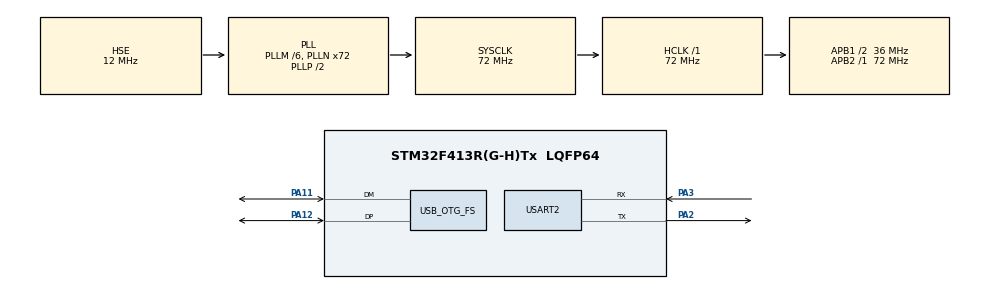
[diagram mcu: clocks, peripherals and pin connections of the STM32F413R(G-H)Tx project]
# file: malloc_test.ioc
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Mcu.Family=STM32F4
Mcu.Name=STM32F413R(G-H)Tx
Mcu.Package=LQFP64
NVIC.OTG_FS_IRQn=true\:0\:0\:false\:false\:true\:false\:true\:true
NVIC.PriorityGroup=NVIC_PRIORITYGROUP_4
NVIC.USART2_IRQn=true\:0\:0\:false\:false\:true\:true\:true\:true
PA11.Mode=Device_Only
PA11.Signal=USB_OTG_FS_DM
PA12.Mode=Device_Only
PA12.Signal=USB_OTG_FS_DP
PA13.Mode=Serial_Wire
PA13.Signal=SYS_JTMS-SWDIO
PA14.Mode=Serial_Wire
PA14.Signal=SYS_JTCK-SWCLK
PA2.Mode=Asynchronous
PA2.Signal=USART2_TX
PA3.Mode=Asynchronous
PA3.Signal=USART2_RX
PH0\ -\ OSC_IN.Mode=HSE-External-Oscillator
PH0\ -\ OSC_IN.Signal=RCC_OSC_IN
PH1\ -\ OSC_OUT.Mode=HSE-External-Oscillator
PH1\ -\ OSC_OUT.Signal=RCC_OSC_OUT
ProjectManager.HeapSize=0x200
ProjectManager.StackSize=0x400
ProjectManager.TargetToolchain=MDK-ARM V5.32
RCC.AHBFreq_Value=72000000
RCC.APB1CLKDivider=RCC_HCLK_DIV2
RCC.APB1Freq_Value=36000000
RCC.APB1TimFreq_Value=72000000
RCC.APB2Freq_Value=72000000
RCC.APB2TimFreq_Value=72000000
RCC.CortexFreq_Value=72000000
RCC.HCLKFreq_Value=72000000
RCC.HSE_VALUE=12000000
RCC.PLLM=6
RCC.PLLN=72
RCC.PLLQ=3
RCC.PLLSourceVirtual=RCC_PLLSOURCE_HSE
RCC.SYSCLKFreq_VALUE=72000000
RCC.SYSCLKSource=RCC_SYSCLKSOURCE_PLLCLK
RCC.USBFreq_Value=48000000
RCC.VCOOutputFreq_Value=144000000
USART2.VirtualMode=VM_ASYNC
USB_DEVICE.CLASS_NAME_FS=CDC
USB_DEVICE.VirtualMode=Cdc
USB_DEVICE.VirtualModeFS=Cdc_FS
USB_OTG_FS.VirtualMode=Device_Only
VP_USB_DEVICE_VS_USB_DEVICE_CDC_FS.Mode=CDC_FS
board=custom

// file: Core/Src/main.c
/* USER CODE BEGIN Header */
/**
  ******************************************************************************
  * @file           : main.c
  * @brief          : Main program body
  ******************************************************************************
  * @attention
  *
  * Copyright (c) 2023 STMicroelectronics.
  * All rights reserved.
  *
  * This software is licensed under terms that can be found in the LICENSE file
  * in the root directory of this software component.
  * If no LICENSE file comes with this software, it is provided AS-IS.
  *
  ******************************************************************************
  */
/* USER CODE END Header */
#include "main.h"
#include "usart.h"
#include "usb_device.h"
#include "gpio.h"

/* USER CODE BEGIN Includes */
#include <stdio.h>
#include <stdlib.h>
#include <stdarg.h>
#include "usbd_cdc_if.h"
/* USER CODE END Includes */

/* USER CODE BEGIN PTD */
#define BUFFER_SIZE 25600
#define USB_TX_BUFFER_SIZE 2048
/* USER CODE END PTD */

/* USER CODE BEGIN PD */
#define DATA_SIZE 25600 // Total data size
#define DATA_PAYLOAD DATA_SIZE
uint8_t test_data[DATA_SIZE] = {0};
/* USER CODE END PD */

/* USER CODE BEGIN PV */
void usb_printf(const char* format, ...);
/* USER CODE END PV */

void SystemClock_Config(void);

/* USER CODE BEGIN 0 */
//void test_dataCreat(uint8_t *test_data)
//{
//    if (!test_data)return;
//    for (int i = 0; i < DATA_SIZE; i++)
//    {
//        test_data[i] = i % 0x100;
//    }
//}
/* USER CODE END 0 */

int main(void)
{

  /* MCU Configuration--------------------------------------------------------*/

  /* Reset of all peripherals, Initializes the Flash interface and the Systick. */
  HAL_Init();

  /* Configure the system clock */
  SystemClock_Config();

  /* Initialize all configured peripherals */
  MX_GPIO_Init();
  MX_USART2_UART_Init();
  MX_USB_DEVICE_Init();
  /* USER CODE BEGIN 2 */
	 uint8_t *buff = (uint8_t *)malloc(BUFFER_SIZE*sizeof(uint8_t));
	 for (int i = 0; i < BUFFER_SIZE; i++)
	{
    buff[i] = i%0x100;

  }
//		 test_dataCreat(test_data);
  /* USER CODE END 2 */

  /* Infinite loop */
  while (1)
  {

    /* USER CODE BEGIN 3 */

  for (int i = 0; i < BUFFER_SIZE; i++)
		{
     CDC_Transmit_FS(buff,BUFFER_SIZE);
    }
//CDC_Transmit_FS(test_data,DATA_SIZE);
free(buff);
  /* USER CODE END 3 */
	}

}
void SystemClock_Config(void)
{
  RCC_OscInitTypeDef RCC_OscInitStruct = {0};
  RCC_ClkInitTypeDef RCC_ClkInitStruct = {0};

  /** Configure the main internal regulator output voltage
  */
  __HAL_RCC_PWR_CLK_ENABLE();
  __HAL_PWR_VOLTAGESCALING_CONFIG(PWR_REGULATOR_VOLTAGE_SCALE1);

  /** Initializes the RCC Oscillators according to the specified parameters
  * in the RCC_OscInitTypeDef structure.
  */
  RCC_OscInitStruct.OscillatorType = RCC_OSCILLATORTYPE_HSE;
  RCC_OscInitStruct.HSEState = RCC_HSE_ON;
  RCC_OscInitStruct.PLL.PLLState = RCC_PLL_ON;
  RCC_OscInitStruct.PLL.PLLSource = RCC_PLLSOURCE_HSE;
  RCC_OscInitStruct.PLL.PLLM = 6;
  RCC_OscInitStruct.PLL.PLLN = 72;
  RCC_OscInitStruct.PLL.PLLP = RCC_PLLP_DIV2;
  RCC_OscInitStruct.PLL.PLLQ = 3;
  RCC_OscInitStruct.PLL.PLLR = 2;
  if (HAL_RCC_OscConfig(&RCC_OscInitStruct) != HAL_OK)
  {
    Error_Handler();
  }

  /** Initializes the CPU, AHB and APB buses clocks
  */
  RCC_ClkInitStruct.ClockType = RCC_CLOCKTYPE_HCLK|RCC_CLOCKTYPE_SYSCLK
                              |RCC_CLOCKTYPE_PCLK1|RCC_CLOCKTYPE_PCLK2;
  RCC_ClkInitStruct.SYSCLKSource = RCC_SYSCLKSOURCE_PLLCLK;
  RCC_ClkInitStruct.AHBCLKDivider = RCC_SYSCLK_DIV1;
  RCC_ClkInitStruct.APB1CLKDivider = RCC_HCLK_DIV2;
  RCC_ClkInitStruct.APB2CLKDivider = RCC_HCLK_DIV1;

  if (HAL_RCC_ClockConfig(&RCC_ClkInitStruct, FLASH_LATENCY_2) != HAL_OK)
  {
    Error_Handler();
  }
}

/* USER CODE BEGIN 4 */
void usb_printf(const char* format, ...)
{
    char buffer[USB_TX_BUFFER_SIZE];
    va_list args;

    va_start(args, format);
    vsnprintf(buffer, sizeof(buffer), format, args);
    va_end(args);

    CDC_Transmit_FS((uint8_t*)buffer, strlen(buffer));
}
/* USER CODE END 4 */

void Error_Handler(void)
{
  __disable_irq();
  while (1)
  {
  }
}
